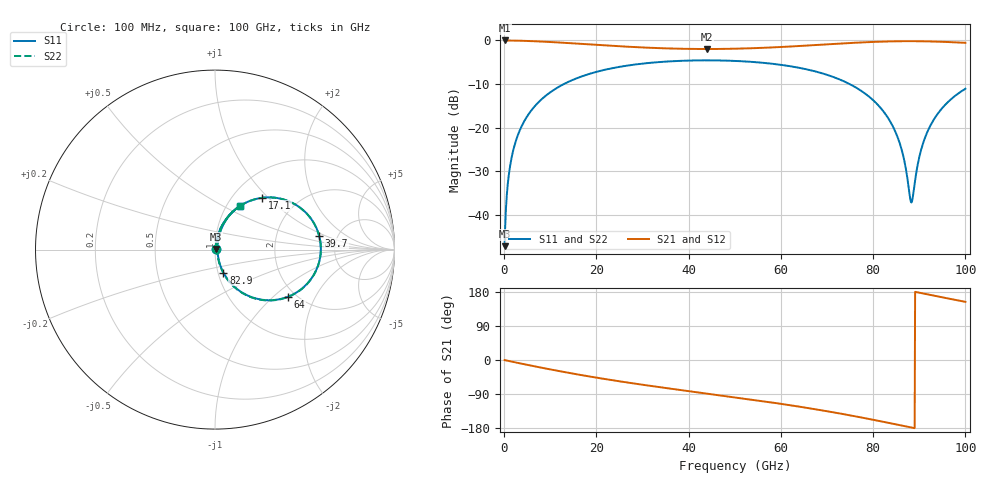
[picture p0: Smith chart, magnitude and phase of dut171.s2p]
! Touchstone file exported from HFSS 2026.1.0
!  File:  C:/ffzhzh/LocalFiles/Ansys_Project_Files/temp_train_RDL_171_1783500229_55944.aedt
!  Generated:  04:45:08 PM Jul  8, 2026
!  Design:  RDL
!  Project:  temp_train_RDL_171_1783500229_55944
! Variables:
!  h_bsmrdl = 2um
!  h_ox = 20um
!  h_rdl = 5um
!  h_sub = 80um
!  h_tmrdl = 4.6um
!  h_tsv = 80um
!  h_via = 3um
!  l_bsmrdl = 300um
!  l_sub = 1087.92um
!  l_tmrdl = 687.92um
!  m_sub = 200um
!  pitch = 45.82um
!  r_tsv = 6um
!  s_tmrdl = 10um
!  w_bsmrdl = 18um
!  w_sub = 500um
!  w_tmrdl = 17.25um
!  x_tsv_center1 = 696.545um
!  x_tsv_center2 = 1014.545um
!  x_tsv_center3 = 1719.715um
!  x_tsv_center4 = 2037.715um
!  x_tsv_center5 = 2742.885um
!  x_tsv_center6 = 3060.885um
# GHz S MA R 50.000000
! Terminal data exported
! Port[1] = TM_RDL1_1_T1
! Port[2] = TM_RDL1_1_T2
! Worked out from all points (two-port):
!   1000 points, 100 MHz to 100 GHz, reference 50 ohm
!   highest |S21| = -0.03 dB at 100 MHz (marker M1); lowest = -2.0 dB at 43.9 GHz (marker M2)
!   |S21| within 3 dB of the highest: start of sweep to end of sweep
!   lowest |S11| = -47.2 dB at 100 MHz (marker M3), VSWR 1.01, Z = 50.3 + j0.298 ohm
!   |S11| at or under -10 dB: start of sweep to 13 GHz; 74.85 GHz to end of sweep
!   |S22| runs from -47.2 to -4.6 dB; largest |S21 - S12| = 1.8e-14
!   S11 on the Smith chart (normalised r, x): 100 MHz: 1.01, +0.01; 17.1 GHz: 1.35, +0.92; 39.7 GHz: 3.61, +0.84; 64 GHz: 1.82, -1.25; 82.9 GHz: 1.06, -0.28; 100 GHz: 1.15, +0.60
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0.1  0.004358 42.9  0.9968 -0.3  0.9968 -0.3  0.004358 42.9
! Gamma 0 0 0 0
! Port Impedance 50 0 50 0
0.8  0.02283 78.3  0.9959 -2.1  0.9959 -2.1  0.02283 78.3
1.4  0.03922 80.3  0.9951 -3.6  0.9951 -3.6  0.03922 80.3
4  0.1089 76.5  0.9879 -10.3  0.9879 -10.3  0.1089 76.5
9  0.2312 65.1  0.9632 -22.5  0.9632 -22.5  0.2312 65.1
16.8  0.3854 48.3  0.9106 -39.9  0.9106 -39.9  0.3854 48.3
17.1  0.3904 47.7  0.9084 -40.6  0.9084 -40.6  0.3904 47.6
33.4  0.5621 17.8  0.8144 -71.1  0.8144 -71.1  0.5622 17.7
39.7  0.5853 7.5  0.7984 -81.6  0.7984 -81.6  0.5854 7.4
43.9  0.5897 0.9  0.7953 -88.5  0.7953 -88.5  0.5897 0.7
50.1  0.5804 -9.1  0.8019 -98.6  0.8019 -98.6  0.5805 -9.2
64  0.4837 -32.9  0.8609 -123.1  0.8609 -123.1  0.4838 -33.1
66.7  0.4504 -38.0  0.8778 -128.4  0.8778 -128.4  0.4505 -38.3
76.5  0.2828 -57.7  0.9409 -149.5  0.9409 -149.5  0.2829 -58.1
82.9  0.1369 -69.8  0.97 -164.8  0.97 -164.8  0.1369 -70.5
83.4  0.1247 -70.4  0.9714 -166.0  0.9714 -166.0  0.1247 -71.2
86.1  0.05771 -69.6  0.9766 -172.7  0.9766 -172.7  0.05754 -71.1
88.3  0.01381 1.9  0.9776 -178.2  0.9776 -178.2  0.01235 1.1
90.2  0.05057 70.7  0.9759 177.1  0.9759 177.1  0.05005 72.1
92.2  0.09994 73.7  0.9717 172.2  0.9717 172.2  0.09961 74.4
95.5  0.1794 69.3  0.9599 164.1  0.9599 164.1  0.1792 69.6
100  0.2784 60.4  0.9362 153.5  0.9362 153.5  0.2782 60.6
